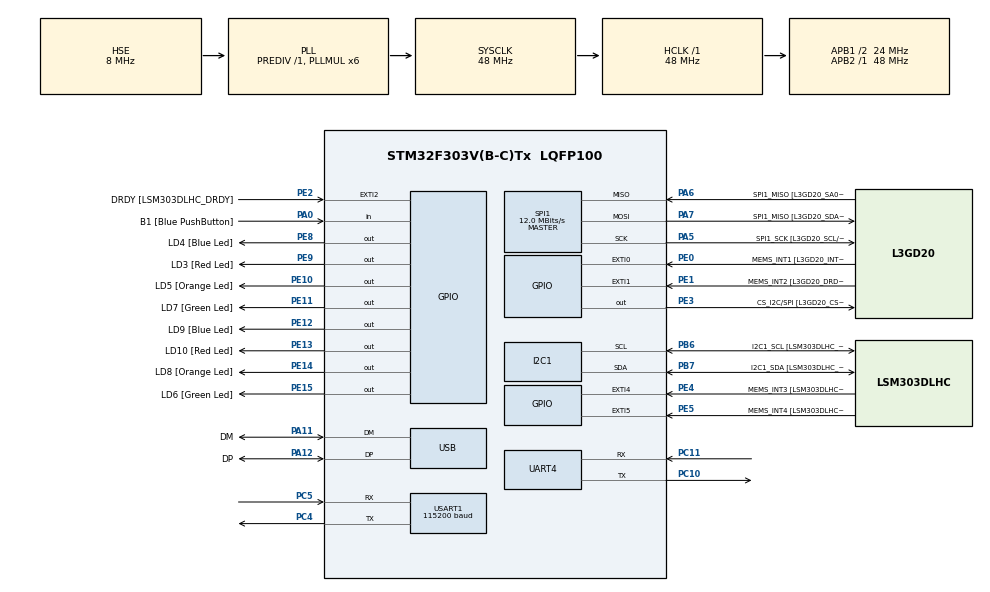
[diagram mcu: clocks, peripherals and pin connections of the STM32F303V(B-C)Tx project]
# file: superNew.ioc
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I2C1.Timing=0x2000090E
I2C1.Timing-I2C=0x2000090E
Mcu.Family=STM32F3
Mcu.Name=STM32F303V(B-C)Tx
Mcu.Package=LQFP100
NVIC.PriorityGroup=NVIC_PRIORITYGROUP_0
PA0.GPIO_Label=B1 [Blue PushButton]
PA0.Signal=GPIO_Input
PA11.GPIO_Label=DM
PA11.Mode=Device
PA11.Signal=USB_DM
PA12.GPIO_Label=DP
PA12.Mode=Device
PA12.Signal=USB_DP
PA13.GPIO_Label=SWDIO
PA13.Mode=Serial_Wire
PA13.Signal=SYS_JTMS-SWDIO
PA14.GPIO_Label=SWCLK
PA14.Mode=Serial_Wire
PA14.Signal=SYS_JTCK-SWCLK
PA5.GPIO_Label=SPI1_SCK [L3GD20_SCL/SPC]
PA5.Mode=Full_Duplex_Master
PA5.Signal=SPI1_SCK
PA6.GPIO_Label=SPI1_MISO [L3GD20_SA0/SDO]
PA6.Mode=Full_Duplex_Master
PA6.Signal=SPI1_MISO
PA7.GPIO_Label=SPI1_MISO [L3GD20_SDA/SDI/SDO]
PA7.Mode=Full_Duplex_Master
PA7.Signal=SPI1_MOSI
PB3.GPIO_Label=SWO
PB3.Signal=SYS_JTDO-TRACESWO
PB6.GPIO_Label=I2C1_SCL [LSM303DLHC_SCL]
PB6.GPIO_Pu=GPIO_PULLUP
PB6.Mode=I2C
PB6.Signal=I2C1_SCL
PB7.GPIO_Label=I2C1_SDA [LSM303DLHC_SDA]
PB7.GPIO_Pu=GPIO_PULLUP
PB7.Mode=I2C
PB7.Signal=I2C1_SDA
PC10.Mode=Asynchronous
PC10.Signal=UART4_TX
PC11.Mode=Asynchronous
PC11.Signal=UART4_RX
PC14-OSC32_IN.GPIO_Label=OSC32_IN
PC14-OSC32_IN.Signal=RCC_OSC32_IN
PC15-OSC32_OUT.GPIO_Label=OSC32_OUT
PC15-OSC32_OUT.Signal=RCC_OSC32_OUT
PC4.Mode=Asynchronous
PC4.Signal=USART1_TX
PC5.Mode=Asynchronous
PC5.Signal=USART1_RX
PE0.GPIO_Label=MEMS_INT1 [L3GD20_INT1]
PE0.GPIO_ModeDefaultEXTI=GPIO_MODE_EVT_RISING
PE0.Signal=GPXTI0
PE1.GPIO_Label=MEMS_INT2 [L3GD20_DRDY/INT2]
PE1.GPIO_ModeDefaultEXTI=GPIO_MODE_EVT_RISING
PE1.Signal=GPXTI1
PE10.GPIO_Label=LD5 [Orange Led]
PE10.Signal=GPIO_Output
PE11.GPIO_Label=LD7 [Green Led]
PE11.Signal=GPIO_Output
PE12.GPIO_Label=LD9 [Blue Led]
PE12.Signal=GPIO_Output
PE13.GPIO_Label=LD10 [Red Led]
PE13.Signal=GPIO_Output
PE14.GPIO_Label=LD8 [Orange Led]
PE14.Signal=GPIO_Output
PE15.GPIO_Label=LD6 [Green Led]
PE15.Signal=GPIO_Output
PE2.GPIO_Label=DRDY [LSM303DLHC_DRDY]
PE2.GPIO_ModeDefaultEXTI=GPIO_MODE_EVT_RISING
PE2.Signal=GPXTI2
PE3.GPIO_Label=CS_I2C/SPI [L3GD20_CS_I2C/SPI]
PE3.Signal=GPIO_Output
PE4.GPIO_Label=MEMS_INT3 [LSM303DLHC_INT1]
PE4.GPIO_ModeDefaultEXTI=GPIO_MODE_EVT_RISING
PE4.Signal=GPXTI4
PE5.GPIO_Label=MEMS_INT4 [LSM303DLHC_INT2]
PE5.GPIO_ModeDefaultEXTI=GPIO_MODE_EVT_RISING
PE5.Signal=GPXTI5
PE8.GPIO_Label=LD4 [Blue Led]
PE8.Signal=GPIO_Output
PE9.GPIO_Label=LD3 [Red Led]
PE9.Signal=GPIO_Output
PF0-OSC_IN.GPIO_Label=OSC_IN
PF0-OSC_IN.Mode=HSE-External-Clock-Source
PF0-OSC_IN.Signal=RCC_OSC_IN
PF1-OSC_OUT.GPIO_Label=OSC_OUT
PF1-OSC_OUT.Signal=RCC_OSC_OUT
ProjectManager.HeapSize=0x200
ProjectManager.StackSize=0x400
ProjectManager.TargetToolchain=STM32CubeIDE
RCC.AHBFreq_Value=48000000
RCC.APB1CLKDivider=RCC_HCLK_DIV2
RCC.APB1Freq_Value=24000000
RCC.APB1TimFreq_Value=48000000
RCC.APB2Freq_Value=48000000
RCC.APB2TimFreq_Value=48000000
RCC.CortexFreq_Value=48000000
RCC.HCLKFreq_Value=48000000
RCC.HSE_VALUE=8000000
RCC.HSI_VALUE=8000000
RCC.LSE_VALUE=32768
RCC.PLLMUL=RCC_PLL_MUL6
RCC.SYSCLKFreq_VALUE=48000000
RCC.SYSCLKSourceVirtual=RCC_SYSCLKSOURCE_PLLCLK
RCC.USBFreq_Value=48000000
SPI1.BaudRatePrescaler=SPI_BAUDRATEPRESCALER_4
SPI1.BaudRatePrescaler-Full_Duplex_Master=SPI_BAUDRATEPRESCALER_2
SPI1.CalculateBaudRate=12.0 MBits/s
SPI1.CalculateBaudRate-Full_Duplex_Master=24.0 MBits/s
SPI1.Direction=SPI_DIRECTION_2LINES
SPI1.Mode=SPI_MODE_MASTER
SPI1.Mode-Full_Duplex_Master=SPI_MODE_MASTER
SPI1.VirtualType=VM_MASTER
USART1.BaudRate=115200
USART1.VirtualMode-Asynchronous=VM_ASYNC
board=STM32F3DISCOVERY

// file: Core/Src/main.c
/* USER CODE BEGIN Header */
/**
  ******************************************************************************
  * @file           : main.c
  * @brief          : Main program body
  ******************************************************************************
  * @attention
  *
  * Copyright (c) 2023 STMicroelectronics.
  * All rights reserved.
  *
  * This software is licensed under terms that can be found in the LICENSE file
  * in the root directory of this software component.
  * If no LICENSE file comes with this software, it is provided AS-IS.
  *
  ******************************************************************************
  */
/* USER CODE END Header */
#include "main.h"
#define MAG_READ 0x3D
#define MAG_WRITE 0x3C
#define MAX_CHAR 300
#define CTRL_REG1_M 0x20
#define CTRL_REG2_M 0x21
#define CTRL_REG3_M 0x22
#define CFG_REG_A_M 0x60
#define CFG_REG_C_M 0x62
#define LSM303AGR_ADDRESS 0x1E

I2C_HandleTypeDef hi2c1;

SPI_HandleTypeDef hspi1;

UART_HandleTypeDef huart4;
UART_HandleTypeDef huart1;

PCD_HandleTypeDef hpcd_USB_FS;

void SystemClock_Config(void);
static void MX_GPIO_Init(void);
static void MX_I2C1_Init(void);
static void MX_SPI1_Init(void);
static void MX_USB_PCD_Init(void);
static void MX_UART4_Init(void);
static void MX_USART1_UART_Init(void);

void read_magnetometer(void) {
  // Read the magnetometer data from the LSM303AGR.
  uint8_t data[6] = {0};

  // Send the read command to the LSM303AGR.
  HAL_I2C_Mem_Write(&hi2c1, LSM303AGR_ADDRESS, 0x00, I2C_MEMADD_SIZE_8BIT, data, 6, HAL_MAX_DELAY);

  // Read the magnetometer data from the LSM303AGR.
  HAL_I2C_Mem_Read(&hi2c1, LSM303AGR_ADDRESS, 0x00, I2C_MEMADD_SIZE_8BIT, data, 6, HAL_MAX_DELAY);
  char buffer[MAX_CHAR];

  // Convert the magnetometer data to milliGauss.
  float x = (data[1] << 8) | data[0];
  float y = (data[3] << 8) | data[2];
  float z = (data[5] << 8) | data[4];

  // Print the magnetometer data to the console.
  sprintf(buffer,"x = %d  y = %d  z = %d \r\n", x,y,z);
  HAL_UART_Transmit(&huart1, buffer, strlen(buffer), HAL_MAX_DELAY);
	HAL_Delay(500);

}

int main(void)
{
  /* USER CODE BEGIN 1 */
	char buffer[MAX_CHAR];
	HAL_StatusTypeDef returnValue;
  /* USER CODE END 1 */

  /* MCU Configuration--------------------------------------------------------*/

  /* Reset of all peripherals, Initializes the Flash interface and the Systick. */
  HAL_Init();

  /* Configure the system clock */
  SystemClock_Config();

  /* Initialize all configured peripherals */
  MX_GPIO_Init();
  MX_I2C1_Init();
  MX_SPI1_Init();
  MX_USB_PCD_Init();
  MX_UART4_Init();
  MX_USART1_UART_Init();
  /* USER CODE BEGIN 2 */
	/*uint8_t regValue = 0x00;
	uint8_t regVal = 0x70;
	returnValue = HAL_I2C_Mem_Write(&hi2c1, ACC_WRITE, 0x60, 1, &regValue, 1, HAL_MAX_DELAY);

	if (returnValue != HAL_OK)
	{
		strcpy(buffer, "You done fucked up\r\n");
		HAL_UART_Transmit(&huart1, buffer, strlen(buffer), HAL_MAX_DELAY);
		returnValue = HAL_I2C_Mem_Write(&hi2c1, ACC_WRITE, 0x60, 1, &regValue, 1, 10);

	}
	HAL_I2C_Mem_Write(&hi2c1, ACC_WRITE, CFG_REG_A_M, I2C_MEMADD_SIZE_8BIT, &regVal, 1, HAL_MAX_DELAY);
	HAL_I2C_Mem_Write(&hi2c1, ACC_WRITE, CFG_REG_C_M, I2C_MEMADD_SIZE_8BIT, 0x01, 1, HAL_MAX_DELAY);
	HAL_I2C_Mem_Write(&hi2c1, ACC_WRITE, CTRL_REG1_M, I2C_MEMADD_SIZE_8BIT, 0x57, 1, HAL_MAX_DELAY);

*/
	//uint8_t regValue = 0x57;
	  // Write the 0x00 to the CNTL register to reset the magnetometer
	  uint8_t regValue = 0x00;
	  HAL_I2C_Mem_Write(&hi2c1, MAG_WRITE, 0x60, 1, &regValue, 1, 10);

	  // Wait for the magnetometer to be ready
	  HAL_Delay(100);

	  // Set the magnetometer to continuous measurement mode
	  regValue = 0x01;
	  HAL_I2C_Mem_Write(&hi2c1, MAG_WRITE, 0x62, 1, &regValue, 1, 10);

	if (returnValue != HAL_OK)
	{
		strcpy(buffer, "You done fucked up\r\n");
		HAL_UART_Transmit(&huart1, buffer, strlen(buffer), HAL_MAX_DELAY);
	}
  /* USER CODE END 2 */

  /* Infinite loop */
  while (1)
  {

    /* USER CODE BEGIN 3 */
		  uint8_t xMSB = 0x00;
		  HAL_I2C_Mem_Read(&hi2c1,MAG_READ, 0x69, 1, &xMSB, 1, 10);
		  uint8_t xLSB = 0x00;
		  HAL_I2C_Mem_Read(&hi2c1,MAG_READ, 0x68, 1, &xLSB, 1, 10);
		  uint16_t magX = ((xMSB << 8) | xLSB);

		  uint8_t yMSB = 0x00;
		  HAL_I2C_Mem_Read(&hi2c1,MAG_READ, 0x6B, 1, &yMSB, 1, 10);
		  uint8_t yLSB = 0x00;
		  HAL_I2C_Mem_Read(&hi2c1,MAG_READ, 0x6A, 1, &yLSB, 1, 10);
		  uint16_t magY = ((yMSB << 8) | yLSB);

		  uint8_t zMSB = 0x00;
		  HAL_I2C_Mem_Read(&hi2c1,MAG_READ, 0x6D, 1, &zMSB, 1, 10);
		  uint8_t zLSB = 0x00;
		  HAL_I2C_Mem_Read(&hi2c1,MAG_READ, 0x6C, 1, &zLSB, 1, 10);
		  uint16_t magZ = ((zMSB << 8) | zLSB);

		  sprintf(buffer, "magX = %d magY = %d magZ = %d\r\n", magX, magY, magZ);
		  HAL_UART_Transmit(&huart1, buffer, strlen(buffer), HAL_MAX_DELAY);
		HAL_Delay(500);
  }
  /* USER CODE END 3 */
}

void SystemClock_Config(void)
{
  RCC_OscInitTypeDef RCC_OscInitStruct = {0};
  RCC_ClkInitTypeDef RCC_ClkInitStruct = {0};
  RCC_PeriphCLKInitTypeDef PeriphClkInit = {0};

  /** Initializes the RCC Oscillators according to the specified parameters
  * in the RCC_OscInitTypeDef structure.
  */
  RCC_OscInitStruct.OscillatorType = RCC_OSCILLATORTYPE_HSI|RCC_OSCILLATORTYPE_HSE;
  RCC_OscInitStruct.HSEState = RCC_HSE_BYPASS;
  RCC_OscInitStruct.HSEPredivValue = RCC_HSE_PREDIV_DIV1;
  RCC_OscInitStruct.HSIState = RCC_HSI_ON;
  RCC_OscInitStruct.HSICalibrationValue = RCC_HSICALIBRATION_DEFAULT;
  RCC_OscInitStruct.PLL.PLLState = RCC_PLL_ON;
  RCC_OscInitStruct.PLL.PLLSource = RCC_PLLSOURCE_HSE;
  RCC_OscInitStruct.PLL.PLLMUL = RCC_PLL_MUL6;
  if (HAL_RCC_OscConfig(&RCC_OscInitStruct) != HAL_OK)
  {
    Error_Handler();
  }

  /** Initializes the CPU, AHB and APB buses clocks
  */
  RCC_ClkInitStruct.ClockType = RCC_CLOCKTYPE_HCLK|RCC_CLOCKTYPE_SYSCLK
                              |RCC_CLOCKTYPE_PCLK1|RCC_CLOCKTYPE_PCLK2;
  RCC_ClkInitStruct.SYSCLKSource = RCC_SYSCLKSOURCE_PLLCLK;
  RCC_ClkInitStruct.AHBCLKDivider = RCC_SYSCLK_DIV1;
  RCC_ClkInitStruct.APB1CLKDivider = RCC_HCLK_DIV2;
  RCC_ClkInitStruct.APB2CLKDivider = RCC_HCLK_DIV1;

  if (HAL_RCC_ClockConfig(&RCC_ClkInitStruct, FLASH_LATENCY_1) != HAL_OK)
  {
    Error_Handler();
  }
  PeriphClkInit.PeriphClockSelection = RCC_PERIPHCLK_USB|RCC_PERIPHCLK_USART1
                              |RCC_PERIPHCLK_UART4|RCC_PERIPHCLK_I2C1;
  PeriphClkInit.Usart1ClockSelection = RCC_USART1CLKSOURCE_PCLK2;
  PeriphClkInit.Uart4ClockSelection = RCC_UART4CLKSOURCE_PCLK1;
  PeriphClkInit.I2c1ClockSelection = RCC_I2C1CLKSOURCE_HSI;
  PeriphClkInit.USBClockSelection = RCC_USBCLKSOURCE_PLL;
  if (HAL_RCCEx_PeriphCLKConfig(&PeriphClkInit) != HAL_OK)
  {
    Error_Handler();
  }
}

static void MX_I2C1_Init(void)
{

  hi2c1.Instance = I2C1;
  hi2c1.Init.Timing = 0x2000090E;
  hi2c1.Init.OwnAddress1 = 0;
  hi2c1.Init.AddressingMode = I2C_ADDRESSINGMODE_7BIT;
  hi2c1.Init.DualAddressMode = I2C_DUALADDRESS_DISABLE;
  hi2c1.Init.OwnAddress2 = 0;
  hi2c1.Init.OwnAddress2Masks = I2C_OA2_NOMASK;
  hi2c1.Init.GeneralCallMode = I2C_GENERALCALL_DISABLE;
  hi2c1.Init.NoStretchMode = I2C_NOSTRETCH_DISABLE;
  if (HAL_I2C_Init(&hi2c1) != HAL_OK)
  {
    Error_Handler();
  }

  /** Configure Analogue filter
  */
  if (HAL_I2CEx_ConfigAnalogFilter(&hi2c1, I2C_ANALOGFILTER_ENABLE) != HAL_OK)
  {
    Error_Handler();
  }

  /** Configure Digital filter
  */
  if (HAL_I2CEx_ConfigDigitalFilter(&hi2c1, 0) != HAL_OK)
  {
    Error_Handler();
  }

}

static void MX_SPI1_Init(void)
{

  /* SPI1 parameter configuration*/
  hspi1.Instance = SPI1;
  hspi1.Init.Mode = SPI_MODE_MASTER;
  hspi1.Init.Direction = SPI_DIRECTION_2LINES;
  hspi1.Init.DataSize = SPI_DATASIZE_4BIT;
  hspi1.Init.CLKPolarity = SPI_POLARITY_LOW;
  hspi1.Init.CLKPhase = SPI_PHASE_1EDGE;
  hspi1.Init.NSS = SPI_NSS_SOFT;
  hspi1.Init.BaudRatePrescaler = SPI_BAUDRATEPRESCALER_4;
  hspi1.Init.FirstBit = SPI_FIRSTBIT_MSB;
  hspi1.Init.TIMode = SPI_TIMODE_DISABLE;
  hspi1.Init.CRCCalculation = SPI_CRCCALCULATION_DISABLE;
  hspi1.Init.CRCPolynomial = 7;
  hspi1.Init.CRCLength = SPI_CRC_LENGTH_DATASIZE;
  hspi1.Init.NSSPMode = SPI_NSS_PULSE_ENABLE;
  if (HAL_SPI_Init(&hspi1) != HAL_OK)
  {
    Error_Handler();
  }

}

static void MX_UART4_Init(void)
{

  huart4.Instance = UART4;
  huart4.Init.BaudRate = 115200;
  huart4.Init.WordLength = UART_WORDLENGTH_8B;
  huart4.Init.StopBits = UART_STOPBITS_1;
  huart4.Init.Parity = UART_PARITY_NONE;
  huart4.Init.Mode = UART_MODE_TX_RX;
  huart4.Init.HwFlowCtl = UART_HWCONTROL_NONE;
  huart4.Init.OverSampling = UART_OVERSAMPLING_16;
  huart4.Init.OneBitSampling = UART_ONE_BIT_SAMPLE_DISABLE;
  huart4.AdvancedInit.AdvFeatureInit = UART_ADVFEATURE_NO_INIT;
  if (HAL_UART_Init(&huart4) != HAL_OK)
  {
    Error_Handler();
  }

}

static void MX_USART1_UART_Init(void)
{

  huart1.Instance = USART1;
  huart1.Init.BaudRate = 115200;
  huart1.Init.WordLength = UART_WORDLENGTH_8B;
  huart1.Init.StopBits = UART_STOPBITS_1;
  huart1.Init.Parity = UART_PARITY_NONE;
  huart1.Init.Mode = UART_MODE_TX_RX;
  huart1.Init.HwFlowCtl = UART_HWCONTROL_NONE;
  huart1.Init.OverSampling = UART_OVERSAMPLING_16;
  huart1.Init.OneBitSampling = UART_ONE_BIT_SAMPLE_DISABLE;
  huart1.AdvancedInit.AdvFeatureInit = UART_ADVFEATURE_NO_INIT;
  if (HAL_UART_Init(&huart1) != HAL_OK)
  {
    Error_Handler();
  }

}

static void MX_USB_PCD_Init(void)
{

  hpcd_USB_FS.Instance = USB;
  hpcd_USB_FS.Init.dev_endpoints = 8;
  hpcd_USB_FS.Init.speed = PCD_SPEED_FULL;
  hpcd_USB_FS.Init.phy_itface = PCD_PHY_EMBEDDED;
  hpcd_USB_FS.Init.low_power_enable = DISABLE;
  hpcd_USB_FS.Init.battery_charging_enable = DISABLE;
  if (HAL_PCD_Init(&hpcd_USB_FS) != HAL_OK)
  {
    Error_Handler();
  }

}

static void MX_GPIO_Init(void)
{
  GPIO_InitTypeDef GPIO_InitStruct = {0};

  /* GPIO Ports Clock Enable */
  __HAL_RCC_GPIOE_CLK_ENABLE();
  __HAL_RCC_GPIOC_CLK_ENABLE();
  __HAL_RCC_GPIOF_CLK_ENABLE();
  __HAL_RCC_GPIOA_CLK_ENABLE();
  __HAL_RCC_GPIOB_CLK_ENABLE();

  /*Configure GPIO pin Output Level */
  HAL_GPIO_WritePin(GPIOE, CS_I2C_SPI_Pin|LD4_Pin|LD3_Pin|LD5_Pin
                          |LD7_Pin|LD9_Pin|LD10_Pin|LD8_Pin
                          |LD6_Pin, GPIO_PIN_RESET);

  /*Configure GPIO pins : DRDY_Pin MEMS_INT3_Pin MEMS_INT4_Pin MEMS_INT1_Pin
                           MEMS_INT2_Pin */
  GPIO_InitStruct.Pin = DRDY_Pin|MEMS_INT3_Pin|MEMS_INT4_Pin|MEMS_INT1_Pin
                          |MEMS_INT2_Pin;
  GPIO_InitStruct.Mode = GPIO_MODE_EVT_RISING;
  GPIO_InitStruct.Pull = GPIO_NOPULL;
  HAL_GPIO_Init(GPIOE, &GPIO_InitStruct);

  /*Configure GPIO pins : CS_I2C_SPI_Pin LD4_Pin LD3_Pin LD5_Pin
                           LD7_Pin LD9_Pin LD10_Pin LD8_Pin
                           LD6_Pin */
  GPIO_InitStruct.Pin = CS_I2C_SPI_Pin|LD4_Pin|LD3_Pin|LD5_Pin
                          |LD7_Pin|LD9_Pin|LD10_Pin|LD8_Pin
                          |LD6_Pin;
  GPIO_InitStruct.Mode = GPIO_MODE_OUTPUT_PP;
  GPIO_InitStruct.Pull = GPIO_NOPULL;
  GPIO_InitStruct.Speed = GPIO_SPEED_FREQ_LOW;
  HAL_GPIO_Init(GPIOE, &GPIO_InitStruct);

  /*Configure GPIO pin : B1_Pin */
  GPIO_InitStruct.Pin = B1_Pin;
  GPIO_InitStruct.Mode = GPIO_MODE_INPUT;
  GPIO_InitStruct.Pull = GPIO_NOPULL;
  HAL_GPIO_Init(B1_GPIO_Port, &GPIO_InitStruct);

}

void Error_Handler(void)
{
  __disable_irq();
  while (1)
  {
  }
}
